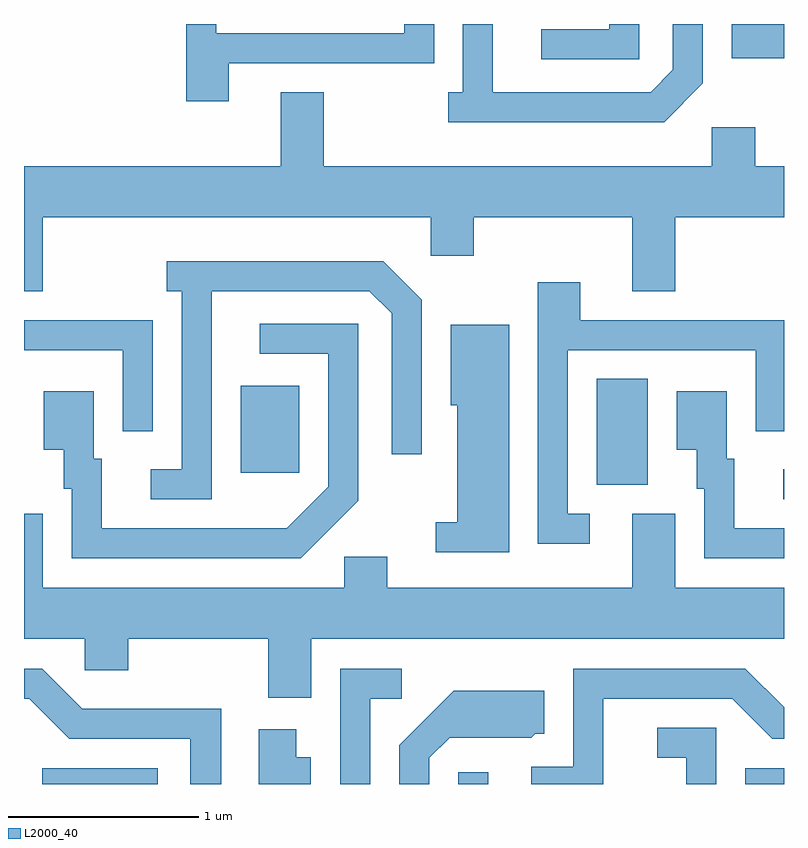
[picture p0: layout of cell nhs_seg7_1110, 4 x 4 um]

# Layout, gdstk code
import gdstk
lib = gdstk.Library(unit=1e-6, precision=1e-09)
def R(c, l, rs):  # rectangles x0, y0, x1, y1
    for r in rs: c.add(gdstk.rectangle(r[:2], r[2:], *l))
def P(c, l, *ps):  # polygons
    for p in ps: c.add(gdstk.Polygon(p, *l))
L2000_40 = (2000, 40)

nhs_seg7_1110 = lib.new_cell('nhs_seg7_1110')
R(nhs_seg7_1110, L2000_40, [(219.706,1680.252,220.314,1680.334), (221.896,1680.252,222.054,1680.313), (223.406,1680.252,223.611,1680.334), (223.608,1681.751,223.611,1681.909), (222.626,1681.826,222.894,1682.384), (220.751,1681.891,221.059,1682.349), (223.336,1684.071,223.611,1684.252)])
P(nhs_seg7_1110, L2000_40, [(220.689,1684.046),(221.769,1684.046),(221.769,1684.252),(221.611,1684.252),(221.611,1684.204),(220.624,1684.204),(220.624,1684.252),(220.466,1684.252),(220.466,1683.846),(220.689,1683.846)],
  [(222.849,1684.252),(222.691,1684.252),(222.691,1684.224),(222.333,1684.224),(222.333,1684.066),(222.849,1684.066)],
  [(223.184,1683.939),(223.184,1684.252),(223.026,1684.252),(223.026,1684.012),(222.909,1683.894),(222.079,1683.894),(222.079,1684.252),(221.921,1684.252),(221.921,1683.894),(221.843,1683.894),(221.843,1683.736),(222.982,1683.736)],
  [(219.709,1683.236),(221.751,1683.236),(221.751,1683.031),(221.979,1683.031),(221.979,1683.236),(222.811,1683.236),(222.811,1682.846),(223.039,1682.846),(223.039,1683.236),(223.611,1683.236),(223.611,1683.504),(223.459,1683.504),(223.459,1683.709),(223.231,1683.709),(223.231,1683.504),(221.189,1683.504),(221.189,1683.894),(220.961,1683.894),(220.961,1683.504),(219.611,1683.504),(219.611,1682.846),(219.709,1682.846)],
  [(220.599,1682.846),(221.429,1682.846),(221.546,1682.729),(221.546,1681.988),(221.704,1681.988),(221.704,1682.802),(221.502,1683.004),(220.363,1683.004),(220.363,1682.846),(220.441,1682.846),(220.441,1681.909),(220.278,1681.909),(220.278,1681.751),(220.599,1681.751)],
  [(222.588,1681.674),(222.474,1681.674),(222.474,1682.536),(223.461,1682.536),(223.461,1682.108),(223.611,1682.108),(223.611,1682.694),(222.539,1682.694),(222.539,1682.894),(222.316,1682.894),(222.316,1681.516),(222.588,1681.516)],
  [(220.289,1682.694),(219.611,1682.694),(219.611,1682.536),(220.131,1682.536),(220.131,1682.108),(220.289,1682.108)],
  [(221.369,1681.744),(221.369,1682.674),(220.853,1682.674),(220.853,1682.516),(221.211,1682.516),(221.211,1681.817),(220.994,1681.599),(220.019,1681.599),(220.019,1681.964),(219.979,1681.964),(219.979,1682.319),(219.716,1682.319),(219.716,1682.011),(219.821,1682.011),(219.821,1681.806),(219.861,1681.806),(219.861,1681.441),(221.067,1681.441)],
  [(222.164,1682.669),(221.856,1682.669),(221.856,1682.246),(221.891,1682.246),(221.891,1681.629),(221.778,1681.629),(221.778,1681.471),(222.164,1681.471)],
  [(223.611,1681.599),(223.349,1681.599),(223.349,1681.964),(223.309,1681.964),(223.309,1682.319),(223.046,1682.319),(223.046,1682.011),(223.151,1682.011),(223.151,1681.806),(223.191,1681.806),(223.191,1681.441),(223.611,1681.441)],
  [(221.124,1681.016),(223.611,1681.016),(223.611,1681.284),(223.039,1681.284),(223.039,1681.674),(222.811,1681.674),(222.811,1681.284),(221.524,1681.284),(221.524,1681.449),(221.296,1681.449),(221.296,1681.284),(219.709,1681.284),(219.709,1681.674),(219.611,1681.674),(219.611,1681.016),(219.931,1681.016),(219.931,1680.851),(220.159,1680.851),(220.159,1681.016),(220.896,1681.016),(220.896,1680.706),(221.124,1680.706)],
  [(221.434,1680.701),(221.598,1680.701),(221.598,1680.859),(221.276,1680.859),(221.276,1680.252),(221.434,1680.252)],
  [(222.659,1680.701),(223.339,1680.701),(223.549,1680.491),(223.611,1680.491),(223.611,1680.655),(223.407,1680.859),(222.501,1680.859),(222.501,1680.344),(222.281,1680.344),(222.281,1680.252),(222.659,1680.252)],
  [(220.649,1680.649),(219.917,1680.649),(219.707,1680.859),(219.611,1680.859),(219.611,1680.701),(219.639,1680.701),(219.849,1680.491),(220.486,1680.491),(220.486,1680.252),(220.649,1680.252)],
  [(221.744,1680.389),(221.852,1680.496),(222.282,1680.496),(222.302,1680.516),(222.349,1680.516),(222.349,1680.744),(221.874,1680.744),(221.586,1680.457),(221.586,1680.252),(221.744,1680.252)],
  [(223.254,1680.549),(222.943,1680.549),(222.943,1680.391),(223.096,1680.391),(223.096,1680.252),(223.254,1680.252)],
  [(221.119,1680.394),(221.044,1680.394),(221.044,1680.539),(220.846,1680.539),(220.846,1680.252),(221.119,1680.252)])

lib.write_gds('nhs_seg7_1110.gds')
